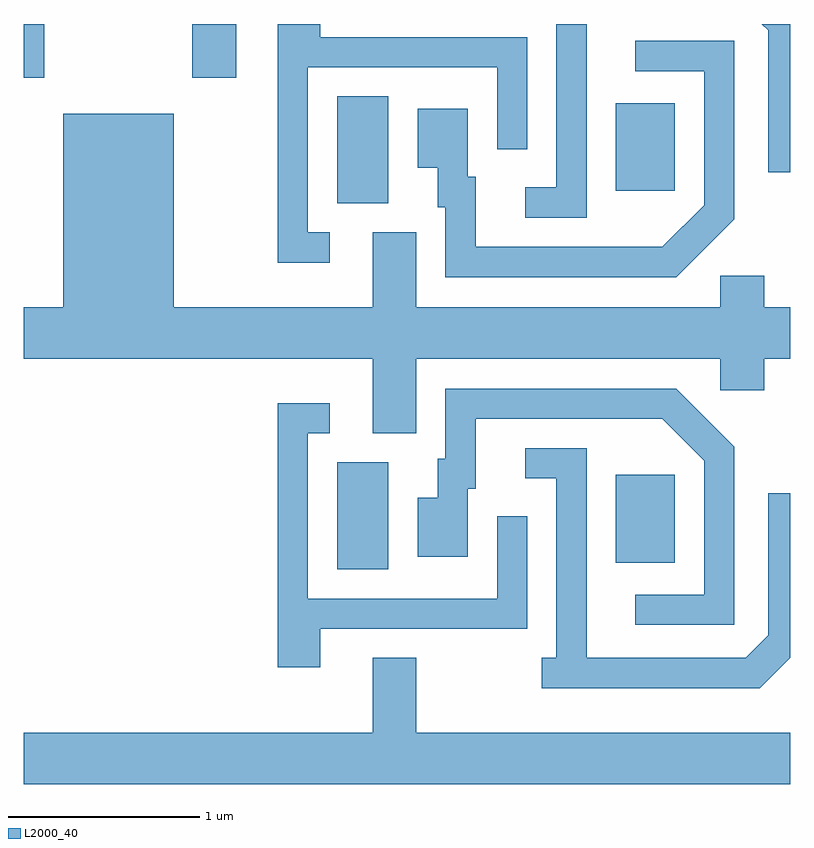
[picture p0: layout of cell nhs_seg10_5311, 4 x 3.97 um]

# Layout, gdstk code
import gdstk
lib = gdstk.Library(unit=1e-6, precision=1e-09)
def R(c, l, rs):  # rectangles x0, y0, x1, y1
    for r in rs: c.add(gdstk.rectangle(r[:2], r[2:], *l))
def P(c, l, *ps):  # polygons
    for p in ps: c.add(gdstk.Polygon(p, *l))
L2000_40 = (2000, 40)

nhs_seg10_5311 = lib.new_cell('nhs_seg10_5311')
R(nhs_seg10_5311, L2000_40, [(343.246,2141.676,343.514,2142.234), (344.701,2141.711,345.009,2142.169), (343.246,2143.586,343.514,2144.144), (344.701,2143.651,345.009,2144.109), (341.611,2144.241,341.719,2144.522), (342.491,2144.241,342.719,2144.522)])
P(nhs_seg10_5311, L2000_40, [(345.611,2144.522),(345.463,2144.522),(345.496,2144.489),(345.496,2143.748),(345.611,2143.748)],
  [(344.549,2144.522),(344.391,2144.522),(344.391,2143.669),(344.228,2143.669),(344.228,2143.511),(344.549,2143.511)],
  [(343.208,2143.434),(343.094,2143.434),(343.094,2144.296),(344.081,2144.296),(344.081,2143.868),(344.239,2143.868),(344.239,2144.454),(343.159,2144.454),(343.159,2144.522),(342.936,2144.522),(342.936,2143.276),(343.208,2143.276)],
  [(345.319,2143.504),(345.319,2144.434),(344.803,2144.434),(344.803,2144.276),(345.161,2144.276),(345.161,2143.577),(344.944,2143.359),(343.969,2143.359),(343.969,2143.724),(343.929,2143.724),(343.929,2144.079),(343.666,2144.079),(343.666,2143.771),(343.771,2143.771),(343.771,2143.566),(343.811,2143.566),(343.811,2143.201),(345.017,2143.201)],
  [(343.659,2142.776),(345.246,2142.776),(345.246,2142.611),(345.474,2142.611),(345.474,2142.776),(345.611,2142.776),(345.611,2143.044),(345.474,2143.044),(345.474,2143.209),(345.246,2143.209),(345.246,2143.044),(343.659,2143.044),(343.659,2143.434),(343.431,2143.434),(343.431,2143.044),(342.394,2143.044),(342.394,2144.054),(341.816,2144.054),(341.816,2143.044),(341.611,2143.044),(341.611,2142.776),(343.431,2142.776),(343.431,2142.386),(343.659,2142.386)],
  [(345.319,2142.317),(345.017,2142.619),(343.811,2142.619),(343.811,2142.254),(343.771,2142.254),(343.771,2142.049),(343.666,2142.049),(343.666,2141.741),(343.929,2141.741),(343.929,2142.096),(343.969,2142.096),(343.969,2142.461),(344.944,2142.461),(345.161,2142.244),(345.161,2141.544),(344.803,2141.544),(344.803,2141.386),(345.319,2141.386)],
  [(343.159,2141.366),(344.239,2141.366),(344.239,2141.953),(344.081,2141.953),(344.081,2141.524),(343.094,2141.524),(343.094,2142.386),(343.208,2142.386),(343.208,2142.544),(342.936,2142.544),(342.936,2141.166),(343.159,2141.166)],
  [(345.611,2141.216),(345.611,2142.073),(345.496,2142.073),(345.496,2141.332),(345.379,2141.214),(344.549,2141.214),(344.549,2142.309),(344.228,2142.309),(344.228,2142.151),(344.391,2142.151),(344.391,2141.214),(344.313,2141.214),(344.313,2141.056),(345.452,2141.056)],
  [(345.611,2140.824),(343.659,2140.824),(343.659,2141.214),(343.431,2141.214),(343.431,2140.824),(341.611,2140.824),(341.611,2140.556),(345.611,2140.556)])

lib.write_gds('nhs_seg10_5311.gds')
